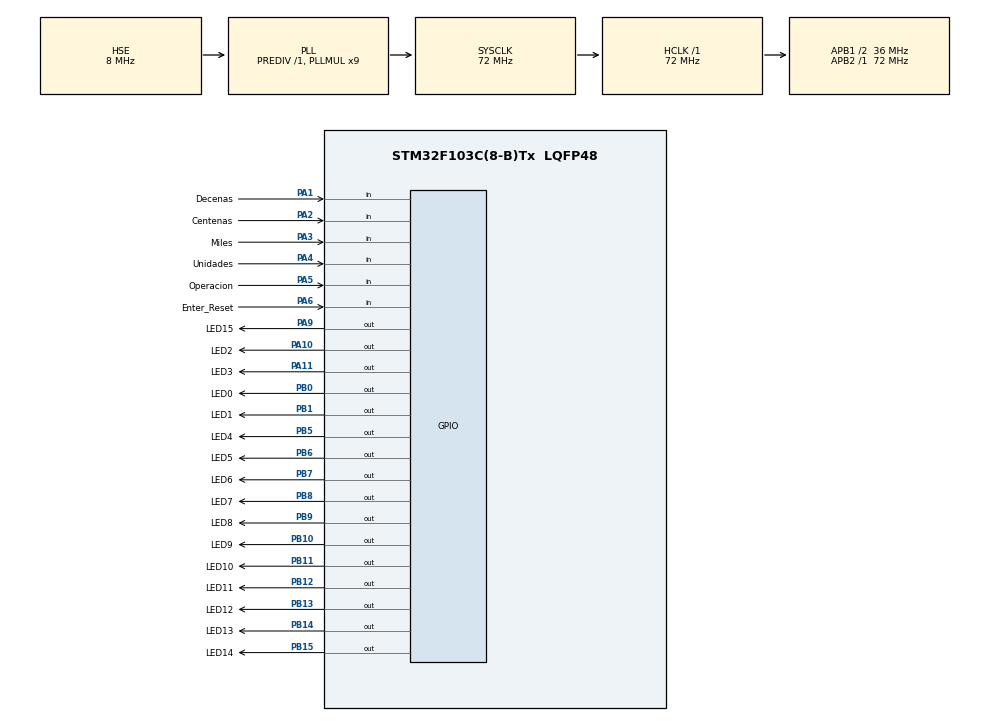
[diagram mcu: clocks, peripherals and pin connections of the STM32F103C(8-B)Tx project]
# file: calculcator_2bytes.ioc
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Mcu.Family=STM32F1
Mcu.Name=STM32F103C(8-B)Tx
Mcu.Package=LQFP48
NVIC.PriorityGroup=NVIC_PRIORITYGROUP_4
PA0-WKUP.Mode=SYS_WakeUp0
PA0-WKUP.Signal=SYS_WKUP
PA1.GPIO_Label=Decenas
PA1.GPIO_PuPd=GPIO_PULLDOWN
PA1.Signal=GPIO_Input
PA10.GPIO_Label=LED2
PA10.GPIO_PuPd=GPIO_PULLDOWN
PA10.Signal=GPIO_Output
PA11.GPIO_Label=LED3
PA11.GPIO_PuPd=GPIO_PULLDOWN
PA11.Signal=GPIO_Output
PA13.Mode=Serial_Wire
PA13.Signal=SYS_JTMS-SWDIO
PA14.Mode=Serial_Wire
PA14.Signal=SYS_JTCK-SWCLK
PA2.GPIO_Label=Centenas
PA2.GPIO_PuPd=GPIO_PULLDOWN
PA2.Signal=GPIO_Input
PA3.GPIO_Label=Miles
PA3.GPIO_PuPd=GPIO_PULLDOWN
PA3.Signal=GPIO_Input
PA4.GPIO_Label=Unidades
PA4.Signal=GPIO_Input
PA5.GPIO_Label=Operacion
PA5.GPIO_PuPd=GPIO_PULLDOWN
PA5.Signal=GPIO_Input
PA6.GPIO_Label=Enter_Reset
PA6.GPIO_PuPd=GPIO_PULLDOWN
PA6.Signal=GPIO_Input
PA9.GPIO_Label=LED15
PA9.GPIO_PuPd=GPIO_PULLDOWN
PA9.Signal=GPIO_Output
PB0.GPIO_Label=LED0
PB0.GPIO_PuPd=GPIO_PULLDOWN
PB0.Signal=GPIO_Output
PB1.GPIO_Label=LED1
PB1.GPIO_PuPd=GPIO_PULLDOWN
PB1.Signal=GPIO_Output
PB10.GPIO_Label=LED9
PB10.GPIO_PuPd=GPIO_PULLDOWN
PB10.Signal=GPIO_Output
PB11.GPIO_Label=LED10
PB11.GPIO_PuPd=GPIO_PULLDOWN
PB11.Signal=GPIO_Output
PB12.GPIO_Label=LED11
PB12.GPIO_PuPd=GPIO_PULLDOWN
PB12.Signal=GPIO_Output
PB13.GPIO_Label=LED12
PB13.GPIO_PuPd=GPIO_PULLDOWN
PB13.Signal=GPIO_Output
PB14.GPIO_Label=LED13
PB14.GPIO_PuPd=GPIO_PULLDOWN
PB14.Signal=GPIO_Output
PB15.GPIO_Label=LED14
PB15.GPIO_PuPd=GPIO_PULLDOWN
PB15.Signal=GPIO_Output
PB5.GPIO_Label=LED4
PB5.GPIO_PuPd=GPIO_PULLDOWN
PB5.Signal=GPIO_Output
PB6.GPIO_Label=LED5
PB6.GPIO_PuPd=GPIO_PULLDOWN
PB6.Signal=GPIO_Output
PB7.GPIO_Label=LED6
PB7.GPIO_PuPd=GPIO_PULLDOWN
PB7.Signal=GPIO_Output
PB8.GPIO_Label=LED7
PB8.GPIO_PuPd=GPIO_PULLDOWN
PB8.Signal=GPIO_Output
PB9.GPIO_Label=LED8
PB9.GPIO_PuPd=GPIO_PULLDOWN
PB9.Signal=GPIO_Output
PD0-OSC_IN.Mode=HSE-External-Oscillator
PD0-OSC_IN.Signal=RCC_OSC_IN
PD1-OSC_OUT.Mode=HSE-External-Oscillator
PD1-OSC_OUT.Signal=RCC_OSC_OUT
ProjectManager.HeapSize=0x200
ProjectManager.StackSize=0x400
ProjectManager.TargetToolchain=STM32CubeIDE
RCC.AHBFreq_Value=72000000
RCC.APB1CLKDivider=RCC_HCLK_DIV2
RCC.APB1Freq_Value=36000000
RCC.APB1TimFreq_Value=72000000
RCC.APB2Freq_Value=72000000
RCC.APB2TimFreq_Value=72000000
RCC.HCLKFreq_Value=72000000
RCC.PLLMUL=RCC_PLL_MUL9
RCC.PLLSourceVirtual=RCC_PLLSOURCE_HSE
RCC.SYSCLKFreq_VALUE=72000000
RCC.SYSCLKSource=RCC_SYSCLKSOURCE_PLLCLK
RCC.USBFreq_Value=72000000
board=custom

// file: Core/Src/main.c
/* USER CODE BEGIN Header */
/**
  **************************
  * @file           : main.c
  * @brief          : Main program body
  **************************
  * @attention
  *
  * <h2><center>&copy; Copyright (c) 2021 STMicroelectronics.
  * All rights reserved.</center></h2>
  *
  * This software component is licensed by ST under BSD 3-Clause license,
  * the "License"; You may not use this file except in compliance with the
  * License. You may obtain a copy of the License at:
  *                        opensource.org/licenses/BSD-3-Clause
  *
  **************************
  */
/* USER CODE END Header */
#include "main.h"

/* USER CODE BEGIN PD */
#define delay_error 1000
#define delay_negative 300
/* USER CODE END PD */

/* USER CODE BEGIN PV */
uint32_t n1 = 0;
uint32_t n2 = 0;
uint32_t res = 0;
uint8_t operator;
uint8_t flag = 0;
int i = 0;
int j = 0;
uint8_t binary[16];
/* USER CODE END PV */

void SystemClock_Config(void);
static void MX_GPIO_Init(void);
/* USER CODE BEGIN PFP */
uint32_t read_number(void);
uint8_t selector_operation(void);
uint32_t calculate_n(uint16_t num1,uint16_t num2,uint8_t operation);
uint32_t negative(uint16_t num1,uint16_t num2);
uint32_t solution(uint16_t num1,uint16_t num2,uint8_t operation);
void printf_solution(uint32_t result, uint8_t bandera);
void dec2bin(uint32_t dec);
void print(void);
/* USER CODE END PFP */

int main(void)
{

  /* MCU Configuration--------------------------------------------------------*/

  /* Reset of all peripherals, Initializes the Flash interface and the Systick. */
  HAL_Init();

  /* Configure the system clock */
  SystemClock_Config();

  /* Initialize all configured peripherals */
  MX_GPIO_Init();
  /* USER CODE BEGIN 2 */
	for (i=0;i<16;i++)
		binary[i] = 0;
  /* USER CODE END 2 */

  /* Infinite loop */
  /* USER CODE BEGIN WHILE */
  while (1)
  {
	  n1 = read_number();
	  operator = selector_operation();
	  if(HAL_GPIO_ReadPin(GPIOA, Enter_Reset_Pin) == 1)
		  operator = selector_operation();
	  n2 = read_number();
	  res = calculate_n(n1, n2, operator);
	  printf_solution(res,flag);
	  res = 0;
	  flag = 0;
    /* USER CODE END WHILE */

  }
}

void SystemClock_Config(void)
{
  RCC_OscInitTypeDef RCC_OscInitStruct = {0};
  RCC_ClkInitTypeDef RCC_ClkInitStruct = {0};

  /** Initializes the RCC Oscillators according to the specified parameters
  * in the RCC_OscInitTypeDef structure.
  */
  RCC_OscInitStruct.OscillatorType = RCC_OSCILLATORTYPE_HSE;
  RCC_OscInitStruct.HSEState = RCC_HSE_ON;
  RCC_OscInitStruct.HSEPredivValue = RCC_HSE_PREDIV_DIV1;
  RCC_OscInitStruct.HSIState = RCC_HSI_ON;
  RCC_OscInitStruct.PLL.PLLState = RCC_PLL_ON;
  RCC_OscInitStruct.PLL.PLLSource = RCC_PLLSOURCE_HSE;
  RCC_OscInitStruct.PLL.PLLMUL = RCC_PLL_MUL9;
  if (HAL_RCC_OscConfig(&RCC_OscInitStruct) != HAL_OK)
  {
    Error_Handler();
  }
  /** Initializes the CPU, AHB and APB buses clocks
  */
  RCC_ClkInitStruct.ClockType = RCC_CLOCKTYPE_HCLK|RCC_CLOCKTYPE_SYSCLK
                              |RCC_CLOCKTYPE_PCLK1|RCC_CLOCKTYPE_PCLK2;
  RCC_ClkInitStruct.SYSCLKSource = RCC_SYSCLKSOURCE_PLLCLK;
  RCC_ClkInitStruct.AHBCLKDivider = RCC_SYSCLK_DIV1;
  RCC_ClkInitStruct.APB1CLKDivider = RCC_HCLK_DIV2;
  RCC_ClkInitStruct.APB2CLKDivider = RCC_HCLK_DIV1;

  if (HAL_RCC_ClockConfig(&RCC_ClkInitStruct, FLASH_LATENCY_2) != HAL_OK)
  {
    Error_Handler();
  }
}

static void MX_GPIO_Init(void)
{
  GPIO_InitTypeDef GPIO_InitStruct = {0};

  /* GPIO Ports Clock Enable */
  __HAL_RCC_GPIOD_CLK_ENABLE();
  __HAL_RCC_GPIOA_CLK_ENABLE();
  __HAL_RCC_GPIOB_CLK_ENABLE();

  /*Configure GPIO pin Output Level */
  HAL_GPIO_WritePin(GPIOB, LED0_Pin|LED1_Pin|LED9_Pin|LED10_Pin
                          |LED11_Pin|LED12_Pin|LED13_Pin|LED14_Pin
                          |LED4_Pin|LED5_Pin|LED6_Pin|LED7_Pin
                          |LED8_Pin, GPIO_PIN_RESET);

  /*Configure GPIO pin Output Level */
  HAL_GPIO_WritePin(GPIOA, LED15_Pin|LED2_Pin|LED3_Pin, GPIO_PIN_RESET);

  /*Configure GPIO pins : Decenas_Pin Centenas_Pin Miles_Pin Operacion_Pin
                           Enter_Reset_Pin */
  GPIO_InitStruct.Pin = Decenas_Pin|Centenas_Pin|Miles_Pin|Operacion_Pin
                          |Enter_Reset_Pin;
  GPIO_InitStruct.Mode = GPIO_MODE_INPUT;
  GPIO_InitStruct.Pull = GPIO_PULLDOWN;
  HAL_GPIO_Init(GPIOA, &GPIO_InitStruct);

  /*Configure GPIO pin : Unidades_Pin */
  GPIO_InitStruct.Pin = Unidades_Pin;
  GPIO_InitStruct.Mode = GPIO_MODE_INPUT;
  GPIO_InitStruct.Pull = GPIO_NOPULL;
  HAL_GPIO_Init(Unidades_GPIO_Port, &GPIO_InitStruct);

  /*Configure GPIO pins : LED0_Pin LED1_Pin LED9_Pin LED10_Pin
                           LED11_Pin LED12_Pin LED13_Pin LED14_Pin
                           LED4_Pin LED5_Pin LED6_Pin LED7_Pin
                           LED8_Pin */
  GPIO_InitStruct.Pin = LED0_Pin|LED1_Pin|LED9_Pin|LED10_Pin
                          |LED11_Pin|LED12_Pin|LED13_Pin|LED14_Pin
                          |LED4_Pin|LED5_Pin|LED6_Pin|LED7_Pin
                          |LED8_Pin;
  GPIO_InitStruct.Mode = GPIO_MODE_OUTPUT_PP;
  GPIO_InitStruct.Pull = GPIO_PULLDOWN;
  GPIO_InitStruct.Speed = GPIO_SPEED_FREQ_LOW;
  HAL_GPIO_Init(GPIOB, &GPIO_InitStruct);

  /*Configure GPIO pins : LED15_Pin LED2_Pin LED3_Pin */
  GPIO_InitStruct.Pin = LED15_Pin|LED2_Pin|LED3_Pin;
  GPIO_InitStruct.Mode = GPIO_MODE_OUTPUT_PP;
  GPIO_InitStruct.Pull = GPIO_PULLDOWN;
  GPIO_InitStruct.Speed = GPIO_SPEED_FREQ_LOW;
  HAL_GPIO_Init(GPIOA, &GPIO_InitStruct);

}

/* USER CODE BEGIN 4 */
uint32_t read_number(){

	uint8_t unidades = 0;
	uint8_t decenas = 0;
	uint16_t centenas = 0;
	uint16_t miles = 0;
	uint32_t numero = 0;

	while((HAL_GPIO_ReadPin(GPIOA, Enter_Reset_Pin) != 1) && (numero <= 65535))
	{
 		if((HAL_GPIO_ReadPin(GPIOA, Unidades_Pin) == 1))
 			unidades++;
 		else if((HAL_GPIO_ReadPin(GPIOA, Decenas_Pin) == 1))
			decenas++;
 		else if((HAL_GPIO_ReadPin(GPIOA, Centenas_Pin) == 1))
			centenas++;
 		else if((HAL_GPIO_ReadPin(GPIOA, Miles_Pin) == 1))
			miles++;

		numero = (unidades)+(decenas*10)+(centenas*100)+(miles*1000);
		dec2bin(numero);
		print();
		HAL_GPIO_WritePin(GPIOB, LED0_Pin|LED1_Pin|LED9_Pin|LED10_Pin
		                          |LED11_Pin|LED12_Pin|LED13_Pin|LED14_Pin
		                          |LED4_Pin|LED5_Pin|LED6_Pin|LED7_Pin
		                          |LED8_Pin, GPIO_PIN_RESET);
		HAL_GPIO_WritePin(GPIOA, LED15_Pin|LED2_Pin|LED3_Pin, GPIO_PIN_RESET);
	}
	return numero;
}

uint8_t selector_operation(){
	uint8_t op;
	uint8_t contador = 0;
	uint8_t track = 2;
	while(track == 2){
		if(HAL_GPIO_ReadPin(GPIOA, Operacion_Pin)==1)
			contador++;
		switch (contador)
		{
		case 1:
			HAL_GPIO_WritePin(LED0_GPIO_Port, LED0_Pin, GPIO_PIN_SET);
			op = '+';
			break;
		case 2:
			HAL_GPIO_WritePin(LED1_GPIO_Port, LED1_Pin, GPIO_PIN_SET);
			op = '-';
			break;
		case 3:
			HAL_GPIO_WritePin(LED2_GPIO_Port, LED2_Pin, GPIO_PIN_SET);
			op = '*';
			break;
		case 4:
			HAL_GPIO_WritePin(LED3_GPIO_Port, LED3_Pin, GPIO_PIN_SET);
			op = '/';
			break;
		default:
			op = '+';
			break;

		}
		HAL_GPIO_WritePin(LED0_GPIO_Port, LED0_Pin, GPIO_PIN_RESET);
		HAL_GPIO_WritePin(LED1_GPIO_Port, LED1_Pin, GPIO_PIN_RESET);
		HAL_GPIO_WritePin(LED2_GPIO_Port, LED2_Pin, GPIO_PIN_RESET);
		HAL_GPIO_WritePin(LED3_GPIO_Port, LED3_Pin, GPIO_PIN_RESET);
		if (HAL_GPIO_ReadPin(GPIOA, Enter_Reset_Pin) == 1)
			track--;
	}
	return op;
}
uint32_t calculate_n(uint16_t num1,uint16_t num2,uint8_t operation){
	uint32_t resultado = 0;
	if(num1 < num2){
		flag = 1;
		resultado = negative(num2,num1);
	}else
		resultado= solution(num1,num2,operation);
	return resultado;
}

uint32_t negative(uint16_t num1,uint16_t num2){
	uint32_t resultado = 0;
	resultado = num1 - num2;
	return resultado;
}

uint32_t solution(uint16_t num1,uint16_t num2,uint8_t operation){
	uint32_t result = 0;
	switch(operation)
	{
		case '+':
			result = num1 + num2;
			break;
		case '*':
			result = num1 * num2;
			break;
		case '/':
			if(num2 == 0)
				flag = 2;
			else
				result = num1 / num2;
			break;
	}
	if(result > 65535)
		flag = 2;

	return result;
}

void printf_solution(uint32_t result, uint8_t bandera){
	dec2bin(result);
	while(HAL_GPIO_ReadPin(GPIOA, Enter_Reset_Pin) != 1){
		switch(bandera){
		case 0:
			print();
			break;
		case 1:
			print();
			break;
		case 2:
			HAL_GPIO_WritePin(GPIOB, LED0_Pin|LED1_Pin|LED9_Pin|LED10_Pin
			                          |LED11_Pin|LED12_Pin|LED13_Pin|LED14_Pin
			                          |LED4_Pin|LED5_Pin|LED6_Pin|LED7_Pin
			                          |LED8_Pin, GPIO_PIN_SET);
			HAL_GPIO_WritePin(GPIOA, LED15_Pin|LED2_Pin|LED3_Pin, GPIO_PIN_SET);
			HAL_Delay(delay_error);
			HAL_GPIO_WritePin(GPIOB, LED0_Pin|LED1_Pin|LED9_Pin|LED10_Pin
			                          |LED11_Pin|LED12_Pin|LED13_Pin|LED14_Pin
			                          |LED4_Pin|LED5_Pin|LED6_Pin|LED7_Pin
			                          |LED8_Pin, GPIO_PIN_RESET);
			HAL_GPIO_WritePin(GPIOA, LED15_Pin|LED2_Pin|LED3_Pin, GPIO_PIN_RESET);
			HAL_Delay(delay_error);
			break;
		}
		if(flag == 1){
			HAL_Delay(delay_negative);
			HAL_GPIO_WritePin(GPIOB, LED0_Pin|LED1_Pin|LED9_Pin|LED10_Pin
			                          |LED11_Pin|LED12_Pin|LED13_Pin|LED14_Pin
			                          |LED4_Pin|LED5_Pin|LED6_Pin|LED7_Pin
			                          |LED8_Pin, GPIO_PIN_RESET);
			HAL_GPIO_WritePin(GPIOA, LED15_Pin|LED2_Pin|LED3_Pin, GPIO_PIN_RESET);
			HAL_Delay(delay_negative);
		}
	}
	HAL_GPIO_WritePin(GPIOB, LED0_Pin|LED1_Pin|LED9_Pin|LED10_Pin
				                          |LED11_Pin|LED12_Pin|LED13_Pin|LED14_Pin
				                          |LED4_Pin|LED5_Pin|LED6_Pin|LED7_Pin
				                          |LED8_Pin, GPIO_PIN_RESET);
	HAL_GPIO_WritePin(GPIOA, LED15_Pin|LED2_Pin|LED3_Pin, GPIO_PIN_RESET);
}
void dec2bin(uint32_t dec){
	uint8_t bin[16];
	i = 0;
	for (j=0;j<16;j++)
		bin[j] = 0;
	while (dec > 0){
        bin[i] = dec % 2;
        dec /= 2;
        i++;
    }
    for(j=15;j>-1;j--)
    	binary[j]=bin[j];
    i = 0;
    j = 0;
}
void print(void){
	j = 0;
	uint16_t a = 0;
    for(j=0;j<16;j++){
    	if(binary[j]==1){
    		a=j+1;
    	}
		switch(a){
		case 1:
			HAL_GPIO_WritePin(LED0_GPIO_Port, LED0_Pin, GPIO_PIN_SET);
			break;
		case 2:
			HAL_GPIO_WritePin(LED1_GPIO_Port, LED1_Pin, GPIO_PIN_SET);
			break;
		case 3:
			HAL_GPIO_WritePin(LED2_GPIO_Port, LED2_Pin, GPIO_PIN_SET);
			break;
		case 4:
			HAL_GPIO_WritePin(LED3_GPIO_Port, LED3_Pin, GPIO_PIN_SET);
			break;
		case 5:
			HAL_GPIO_WritePin(LED4_GPIO_Port, LED4_Pin, GPIO_PIN_SET);
			break;
		case 6:
			HAL_GPIO_WritePin(LED5_GPIO_Port, LED5_Pin, GPIO_PIN_SET);
			break;
		case 7:
			HAL_GPIO_WritePin(LED6_GPIO_Port, LED6_Pin, GPIO_PIN_SET);
			break;
		case 8:
			HAL_GPIO_WritePin(LED7_GPIO_Port, LED7_Pin, GPIO_PIN_SET);
			break;
		case 9:
			HAL_GPIO_WritePin(LED8_GPIO_Port, LED8_Pin, GPIO_PIN_SET);
			break;
		case 10:
			HAL_GPIO_WritePin(LED9_GPIO_Port, LED9_Pin, GPIO_PIN_SET);
			break;
		case 11:
			HAL_GPIO_WritePin(LED10_GPIO_Port, LED10_Pin, GPIO_PIN_SET);
			break;
		case 12:
			HAL_GPIO_WritePin(LED11_GPIO_Port, LED11_Pin, GPIO_PIN_SET);
			break;
		case 13:
			HAL_GPIO_WritePin(LED12_GPIO_Port, LED12_Pin, GPIO_PIN_SET);
			break;
		case 14:
			HAL_GPIO_WritePin(LED13_GPIO_Port, LED13_Pin, GPIO_PIN_SET);
			break;
		case 15:
			HAL_GPIO_WritePin(LED14_GPIO_Port, LED14_Pin, GPIO_PIN_SET);
			break;
		case 16:
			HAL_GPIO_WritePin(LED15_GPIO_Port, LED15_Pin, GPIO_PIN_SET);
			break;
		default:
			break;
		}
    }
    j = 0;
}
/* USER CODE END 4 */

void Error_Handler(void)
{
  __disable_irq();
  while (1)
  {
  }
}

/******** (C) COPYRIGHT STMicroelectronics **END OF FILE*/
